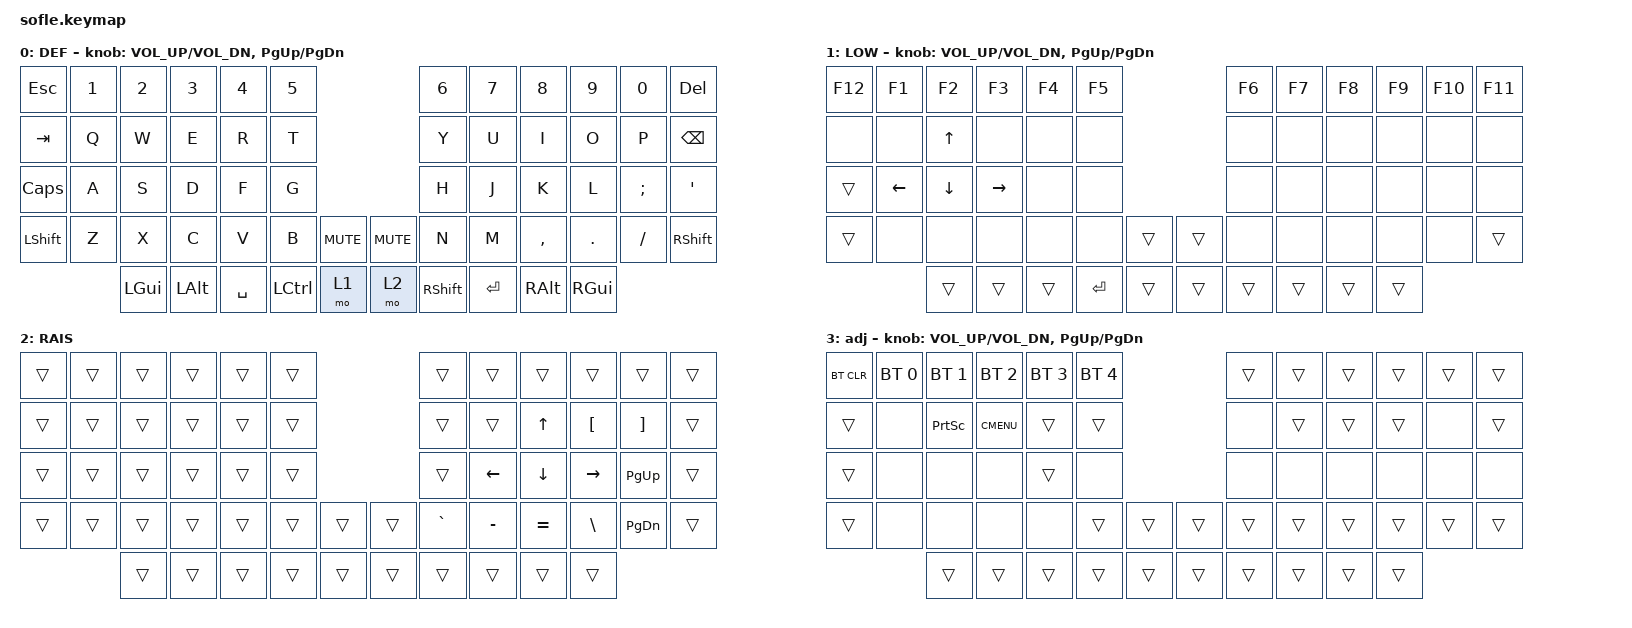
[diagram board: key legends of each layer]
/*
 * Copyright (c) 2020 The ZMK Contributors
 *
 * SPDX-License-Identifier: MIT
 */

#include <behaviors.dtsi>
#include <dt-bindings/zmk/bt.h>
#include <dt-bindings/zmk/keys.h>

/ {
    keymap {
        compatible = "zmk,keymap";

        default_layer {
            display-name = "DEF";

            // ------------------------------------------------------------------------------------------------------------
            // |  `    |  1  |  2  |  3   |  4   |  5   |                   |  6   |  7    |  8    |  9   |   0   |       |
            // |  ESC  |  Q  |  W  |  E   |  R   |  T   |                   |  Y   |  U    |  I    |  O   |   P   | BKSPC |
            // |  TAB  |  A  |  S  |  D   |  F   |  G   |                   |  H   |  J    |  K    |  L   |   ;   |   '   |
            // | SHIFT |  Z  |  X  |  C   |  V   |  B   |  MUTE  |  |       |  N   |  M    |  ,    |  .   |   /   | SHIFT |
            //               | GUI | ALT  | CTRL | LOWER|  ENTER |  | SPACE | RAISE| CTRL  | ALT   | GUI  |

            bindings = <
&kp ESC    &kp N1  &kp N2    &kp N3    &kp N4     &kp N5                               &kp N6           &kp N7     &kp N8     &kp N9    &kp N0    &kp DEL
&kp TAB    &kp Q   &kp W     &kp E     &kp R      &kp T                                &kp Y            &kp U      &kp I      &kp O     &kp P     &kp BSPC
&kp CAPS   &kp A   &kp S     &kp D     &kp F      &kp G                                &kp H            &kp J      &kp K      &kp L     &kp SEMI  &kp SQT
&kp LSHFT  &kp Z   &kp X     &kp C     &kp V      &kp B      &kp C_MUTE    &kp C_MUTE  &kp N            &kp M      &kp COMMA  &kp DOT   &kp FSLH  &kp RSHFT
                   &kp LGUI  &kp LALT  &kp SPACE  &kp LCTRL  &mo 1         &mo 2       &kp RIGHT_SHIFT  &kp ENTER  &kp RALT   &kp RGUI
            >;

            sensor-bindings = <&inc_dec_kp C_VOL_UP C_VOL_DN &inc_dec_kp PG_UP PG_DN>;
        };

        lower_layer {
            display-name = "LOW";

            // ------------------------------------------------------------------------------------------------------------
            // | `     |  F1 |  F2 |  F3  |  F4  |  F5  |                   |  F6  |  F7   |  F8   |  F9  |  F10  |  F11  |
            // | RAISE |   1 |   2 |   3  |   4  |   5  |                   |   6  |   7   |   8   |   9  |    0  |  F12  |
            // |       |  !  |  @  |  #   |  $   |  %   |                   |  ^   |  &    |  *    |  (   |   )   |   |   |
            // |       |  =  |  -  |  +   |  {   |  }   |        |  |       |  [   |  ]    |  ;    |  :   |   \   |       |
            //               |     |      |      |      |        |  |       |      |       |       |      |

            bindings = <
&kp F12  &kp F1    &kp F2          &kp F3     &kp F4  &kp F5                       &kp F6  &kp F7  &kp F8  &kp F9  &kp F10  &kp F11
&none    &none     &kp UP          &none      &none   &none                        &none   &none   &none   &none   &none    &none
&trans   &kp LEFT  &kp DOWN_ARROW  &kp RIGHT  &none   &none                        &none   &none   &none   &none   &none    &none
&trans   &none     &none           &none      &none   &none      &trans    &trans  &none   &none   &none   &none   &none    &trans
                   &trans          &trans     &trans  &kp ENTER  &trans    &trans  &trans  &trans  &trans  &trans
            >;

            sensor-bindings = <&inc_dec_kp C_VOL_UP C_VOL_DN &inc_dec_kp PG_UP PG_DN>;
        };

        raise_layer {
            bindings = <
&trans  &trans  &trans  &trans  &trans  &trans                    &trans     &trans     &trans     &trans     &trans     &trans
&trans  &trans  &trans  &trans  &trans  &trans                    &trans     &trans     &kp UP     &kp LBKT   &kp RBKT   &trans
&trans  &trans  &trans  &trans  &trans  &trans                    &trans     &kp LEFT   &kp DOWN   &kp RIGHT  &kp PG_UP  &trans
&trans  &trans  &trans  &trans  &trans  &trans  &trans    &trans  &kp GRAVE  &kp MINUS  &kp EQUAL  &kp BSLH   &kp PG_DN  &trans
                &trans  &trans  &trans  &trans  &trans    &trans  &trans     &trans     &trans     &trans
            >;

            label = "RAIS";
        };

        adjust_layer {
            display-name = "adj";

            // ------------------------------------------------------------------------------------------------------------
            // |BTCLR| BT1  | BT2  |  BT3  |  BT4  |  BT5 |                |      |      |       |      |       |       |
            // |     | INS  | PSCR | GUI   |       |      |                | PGUP |      |       |      |       |       |
            // |     | ALT  | CTRL | SHIFT |       | CAPS |                |  <-  |   v  |   ^   |  ->  |  DEL  | BKSPC |
            // |     | UNDO | CUT  | COPY  | PASTE |      |      |  |      |      |      |       |      |       |       |
            //              |      |       |       |      |      |  |      |      |      |       |      |

            bindings = <
&bt BT_CLR  &bt BT_SEL 0  &bt BT_SEL 1  &bt BT_SEL 2  &bt BT_SEL 3  &bt BT_SEL 4                    &trans  &trans  &trans  &trans  &trans  &trans
&trans      &none         &kp PSCRN     &kp K_CMENU   &trans        &trans                          &none   &trans  &trans  &trans  &none   &trans
&trans      &none         &none         &none         &trans        &none                           &none   &none   &none   &none   &none   &none
&trans      &none         &none         &none         &none         &trans        &trans    &trans  &trans  &trans  &trans  &trans  &trans  &trans
                          &trans        &trans        &trans        &trans        &trans    &trans  &trans  &trans  &trans  &trans
            >;

            sensor-bindings = <&inc_dec_kp C_VOL_UP C_VOL_DN &inc_dec_kp PG_UP PG_DN>;
        };
    };

    conditional_layers {
        compatible = "zmk,conditional-layers";

        layer3 {
            if-layers = <1 2>;
            then-layer = <3>;
        };
    };
};
